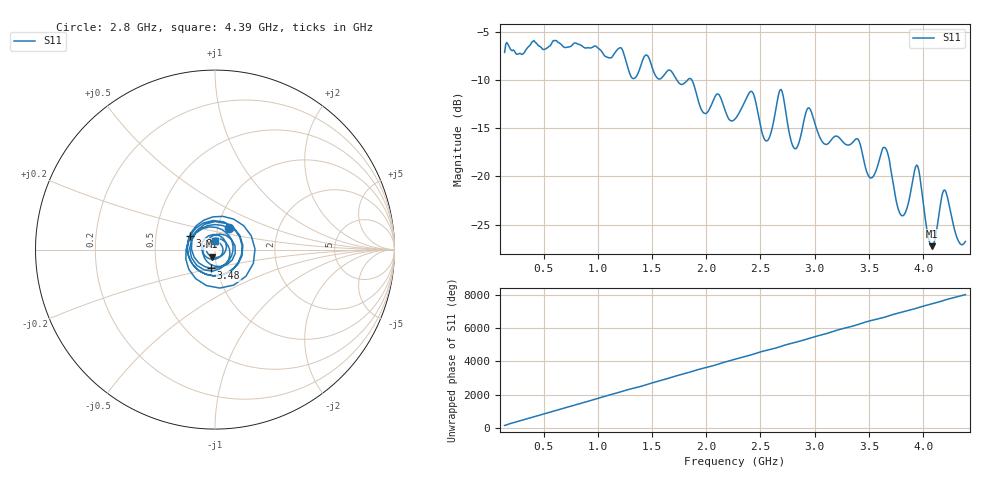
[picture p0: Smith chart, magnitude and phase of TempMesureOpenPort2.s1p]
! 140 4400 10
# MHz S MA R 50.0
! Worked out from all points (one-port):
!   426 points, 140 MHz to 4.39 GHz, reference 50 ohm
!   lowest |S11| = -27.3 dB at 4.08 GHz (marker M1), VSWR 1.09, Z = 48.2 - j3.84 ohm
!   |S11| at or under -10 dB: 1.731 GHz to 1.825 GHz (94.08 MHz wide, 5.29 % of centre); 1.869 GHz to end of sweep
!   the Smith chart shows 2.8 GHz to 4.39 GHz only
!   S11 on the Smith chart (normalised r, x): 2.8 GHz: 1.13, +0.28; 3.23 GHz: 0.75, +0.12; 3.48 GHz: 0.94, -0.20; 4.39 GHz: 1.00, +0.09
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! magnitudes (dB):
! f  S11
! 140 MHz  -7.1
! 680 MHz  -6.5
! 1.21 GHz  -6.6
! 1.32 GHz  -9.8
! 1.45 GHz  -7.4
! 1.74 GHz  -10.1
! 1.86 GHz  -9.9
! 1.98 GHz  -13.4
! 2.11 GHz  -11.4
! 2.27 GHz  -14.0
! 2.42 GHz  -11.1
! 2.56 GHz  -16.3
! 2.69 GHz  -10.9
! 2.8 GHz  -16.9
! 2.94 GHz  -12.9
! 3.08 GHz  -16.5
! 3.23 GHz  -16.0
! 3.33 GHz  -16.7
! 3.4 GHz  -16.1
! 3.48 GHz  -19.5
! 3.65 GHz  -17.0
! 3.78 GHz  -23.7
! 3.86 GHz  -23.0
! 3.95 GHz  -18.9
! 4.08 GHz  -27.3
! 4.2 GHz  -21.4
! 4.32 GHz  -26.6
! 4.39 GHz  -26.8
